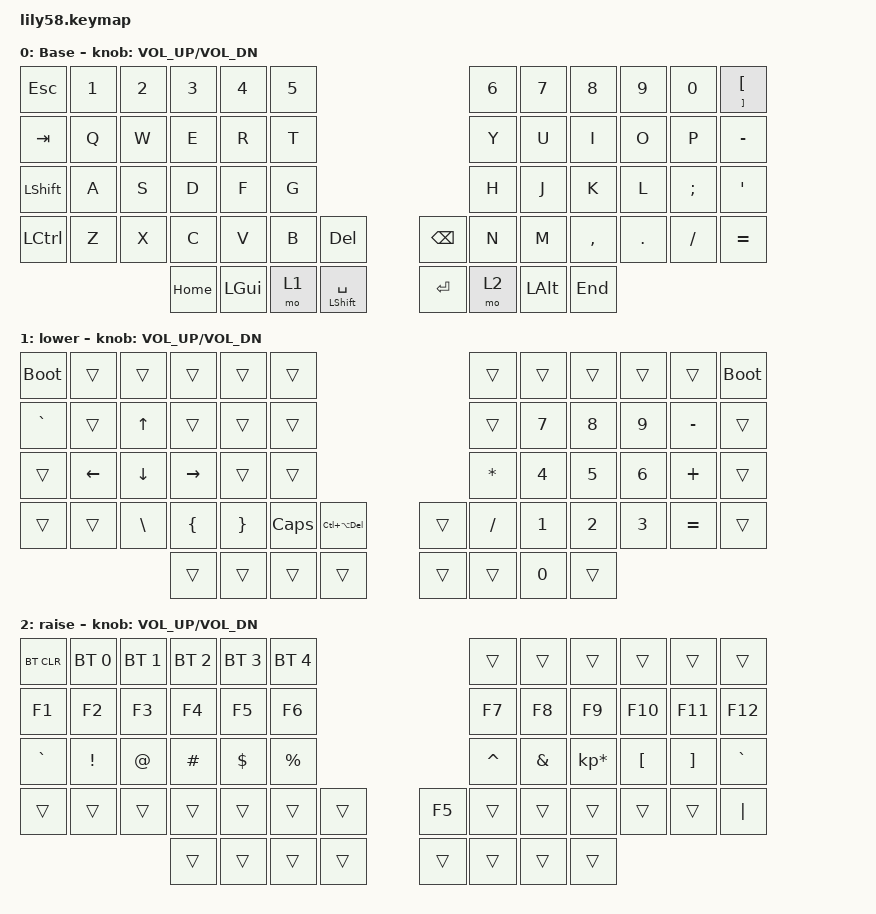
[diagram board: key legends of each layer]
/*
 * Copyright (c) 2020 The ZMK Contributors
 *
 * SPDX-License-Identifier: MIT
 */

#include <behaviors.dtsi>
#include <dt-bindings/zmk/bt.h>
#include <dt-bindings/zmk/keys.h>

/ {
    macros {
        mw: password {
            compatible = "zmk,behavior-macro";
            #binding-cells = <0>;
            bindings = <&kp LS(W) &kp H &kp NUMBER_1 &kp T &kp NUMBER_3 &kp Y &kp HASH &kp NUMBER_4 &kp N5>;
            label = "PASSWORD";
        };
    };

    keymap {
        compatible = "zmk,keymap";

        default_layer {
            // ------------------------------------------------------------------------------------------------------------
            // |  ESC  |  1  |  2  |  3   |  4   |  5   |                   |  6   |  7    |  8    |  9   |   0   |   `   |
            // |  TAB  |  Q  |  W  |  E   |  R   |  T   |                   |  Y   |  U    |  I    |  O   |   P   |   -   |
            // |  CTRL |  A  |  S  |  D   |  F   |  G   |                   |  H   |  J    |  K    |  L   |   ;   |   '   |
            // | SHIFT |  Z  |  X  |  C   |  V   |  B   |   "["  |  |  "]"  |  N   |  M    |  ,    |  .   |   /   | SHIFT |
            //                     | ALT  | GUI  | LOWER|  SPACE |  | ENTER | RAISE| BSPC  | GUI   |

            display-name = "Base";
            bindings = <
&kp ESC         &kp N1  &kp N2  &kp N3    &kp N4    &kp N5                                         &kp N6  &kp N7        &kp N8     &kp N9   &kp N0    &mt RIGHT_BRACKET LEFT_BRACKET
&kp TAB         &kp Q   &kp W   &kp E     &kp R     &kp T                                          &kp Y   &kp U         &kp I      &kp O    &kp P     &kp MINUS
&kp LEFT_SHIFT  &kp A   &kp S   &kp D     &kp F     &kp G                                          &kp H   &kp J         &kp K      &kp L    &kp SEMI  &kp SQT
&kp LCTRL       &kp Z   &kp X   &kp C     &kp V     &kp B   &kp DEL                 &kp BACKSPACE  &kp N   &kp M         &kp COMMA  &kp DOT  &kp FSLH  &kp EQUAL
                                &kp HOME  &kp LGUI  &mo 1   &mt LEFT_SHIFT SPACE    &kp RET        &mo 2   &kp LEFT_ALT  &kp END
            >;

            sensor-bindings = <&inc_dec_kp C_VOL_UP C_VOL_DN>;
        };

        lower_layer {
            // ------------------------------------------------------------------------------------------------------------
            // |       |     |     |      |      |      |                   |      |       |       |      |       |       |
            // |   `   |  1  |  2  |  3   |  4   |  5   |                   |  6   |   7   |   8   |  9   |   0   |       |
            // |   F1  |  F2 |  F3 |  F4  |  F5  |  F6  |                   |      |   <-  |   v   |  ^   |  ->   |       |
            // |   F7  |  F8 |  F9 |  F10 |  F11 |  F12 |        |  |       |  +   |   -   |   =   |  [   |   ]   |   \   |
            //                     |      |      |      |        |  |       |      |       |       |

            display-name = "lower";
            bindings = <
&bootloader  &trans          &trans          &trans          &trans           &trans                                      &trans        &trans        &trans        &trans        &trans     &bootloader
&kp GRAVE    &trans          &kp UP_ARROW    &trans          &trans           &trans                                      &trans        &kp N7        &kp N8        &kp N9        &kp MINUS  &trans
&trans       &kp LEFT_ARROW  &kp DOWN_ARROW  &kp RIGHT       &trans           &trans                                      &kp ASTERISK  &kp NUMBER_4  &kp N5        &kp NUMBER_6  &kp PLUS   &trans
&trans       &trans          &kp BSLH        &kp LEFT_BRACE  &kp RIGHT_BRACE  &kp CAPSLOCK  &kp LC(LA(DELETE))    &trans  &kp SLASH     &kp NUMBER_1  &kp NUMBER_2  &kp NUMBER_3  &kp EQUAL  &trans
                                             &trans          &trans           &trans        &trans                &trans  &trans        &kp N0        &trans
            >;

            sensor-bindings = <&inc_dec_kp C_VOL_UP C_VOL_DN>;
        };

        raise_layer {
            // ------------------------------------------------------------------------------------------------------------
            // | BTCLR | BT1 | BT2 |  BT3 |  BT4 |  BT5 |                   |      |       |       |      |       |       |
            // |  F1   |  F2 |  F3 |  F4  |  F5  |  F6  |                   |  F7  |  F8   |  F9   |  F10 |  F11  |  F12  |
            // |   `   |  !  |  @  |  #   |  $   |  %   |                   |  ^   |  &    |  *    |  (   |   )   |   ~   |
            // |       |     |     |      |      |      |        |  |       |      |  _    |  +    |  {   |   }   |  "|"  |
            //                     |      |      |      |        |  |       |      |       |       |

            display-name = "raise";
            bindings = <
&bt BT_CLR  &bt BT_SEL 0  &bt BT_SEL 1  &bt BT_SEL 2  &bt BT_SEL 3  &bt BT_SEL 4                    &trans     &trans    &trans           &trans            &trans             &trans
&kp F1      &kp F2        &kp F3        &kp F4        &kp F5        &kp F6                          &kp F7     &kp F8    &kp F9           &kp F10           &kp F11            &kp F12
&kp GRAVE   &kp EXCL      &kp AT        &kp HASH      &kp DOLLAR    &kp PRCNT                       &kp CARET  &kp AMPS  &kp KP_MULTIPLY  &kp LEFT_BRACKET  &kp RIGHT_BRACKET  &kp GRAVE
&trans      &trans        &trans        &trans        &trans        &trans        &trans    &kp F5  &trans     &trans    &trans           &trans            &trans             &kp PIPE
                                        &trans        &trans        &trans        &trans    &trans  &trans     &trans    &trans
            >;

            sensor-bindings = <&inc_dec_kp C_VOL_UP C_VOL_DN>;
        };
    };
};
